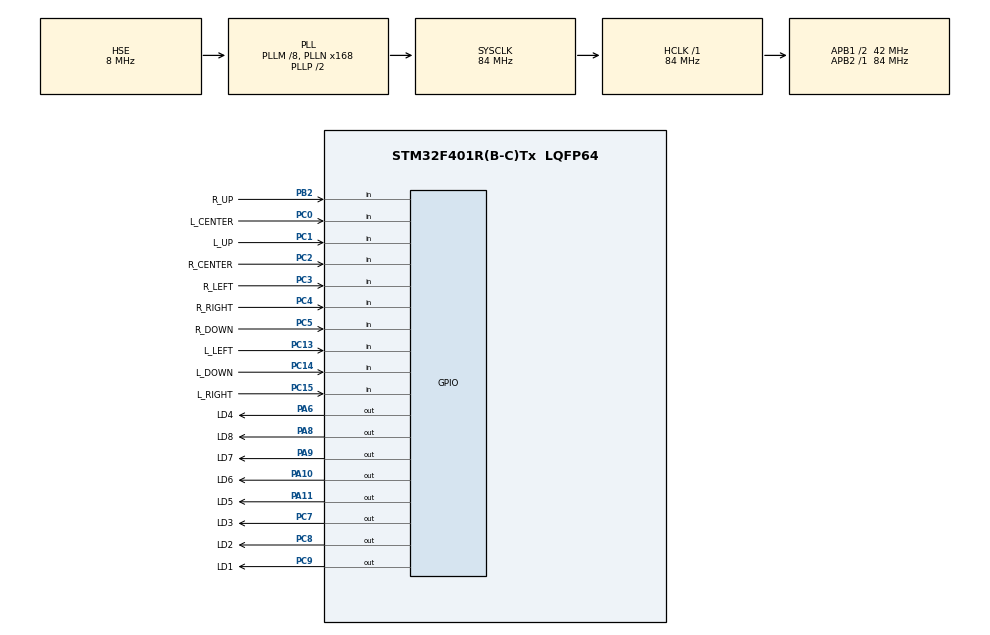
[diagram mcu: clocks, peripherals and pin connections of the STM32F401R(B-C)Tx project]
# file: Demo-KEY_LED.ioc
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Mcu.Family=STM32F4
Mcu.Name=STM32F401R(B-C)Tx
Mcu.Package=LQFP64
NVIC.PriorityGroup=NVIC_PRIORITYGROUP_4
PA10.GPIO_Label=LD6
PA10.Signal=GPIO_Output
PA11.GPIO_Label=LD5
PA11.Signal=GPIO_Output
PA13.Mode=Serial_Wire
PA13.Signal=SYS_JTMS-SWDIO
PA14.Mode=Serial_Wire
PA14.Signal=SYS_JTCK-SWCLK
PA6.GPIO_Label=LD4
PA6.Signal=GPIO_Output
PA8.GPIO_Label=LD8
PA8.PinState=GPIO_PIN_SET
PA8.Signal=GPIO_Output
PA9.GPIO_Label=LD7
PA9.PinState=GPIO_PIN_SET
PA9.Signal=GPIO_Output
PB2.GPIO_Label=R_UP
PB2.GPIO_PuPd=GPIO_PULLUP
PB2.Signal=GPIO_Input
PC0.GPIO_Label=L_CENTER
PC0.GPIO_PuPd=GPIO_PULLUP
PC0.Signal=GPIO_Input
PC1.GPIO_Label=L_UP
PC1.GPIO_PuPd=GPIO_PULLUP
PC1.Signal=GPIO_Input
PC13-ANTI_TAMP.GPIO_Label=L_LEFT
PC13-ANTI_TAMP.GPIO_PuPd=GPIO_PULLUP
PC13-ANTI_TAMP.Signal=GPIO_Input
PC14-OSC32_IN.GPIO_Label=L_DOWN
PC14-OSC32_IN.GPIO_PuPd=GPIO_PULLUP
PC14-OSC32_IN.Signal=GPIO_Input
PC15-OSC32_OUT.GPIO_Label=L_RIGHT
PC15-OSC32_OUT.GPIO_PuPd=GPIO_PULLUP
PC15-OSC32_OUT.Signal=GPIO_Input
PC2.GPIO_Label=R_CENTER
PC2.GPIO_PuPd=GPIO_PULLUP
PC2.Signal=GPIO_Input
PC3.GPIO_Label=R_LEFT
PC3.GPIO_PuPd=GPIO_PULLUP
PC3.Signal=GPIO_Input
PC4.GPIO_Label=R_RIGHT
PC4.GPIO_PuPd=GPIO_PULLUP
PC4.Signal=GPIO_Input
PC5.GPIO_Label=R_DOWN
PC5.GPIO_PuPd=GPIO_PULLUP
PC5.Signal=GPIO_Input
PC7.GPIO_Label=LD3
PC7.Signal=GPIO_Output
PC8.GPIO_Label=LD2
PC8.Signal=GPIO_Output
PC9.GPIO_Label=LD1
PC9.Signal=GPIO_Output
PH0\ -\ OSC_IN.Mode=HSE-External-Clock-Source
PH0\ -\ OSC_IN.Signal=RCC_OSC_IN
PH1\ -\ OSC_OUT.Mode=HSE-External-Clock-Source
PH1\ -\ OSC_OUT.Signal=RCC_OSC_OUT
ProjectManager.HeapSize=0x200
ProjectManager.StackSize=0x400
ProjectManager.TargetToolchain=MDK-ARM V5.32
RCC.48MHZClocksFreq_Value=42000000
RCC.AHBFreq_Value=84000000
RCC.APB1CLKDivider=RCC_HCLK_DIV2
RCC.APB1Freq_Value=42000000
RCC.APB1TimFreq_Value=84000000
RCC.APB2Freq_Value=84000000
RCC.APB2TimFreq_Value=84000000
RCC.CortexFreq_Value=84000000
RCC.HCLKFreq_Value=84000000
RCC.HSE_VALUE=8000000
RCC.HSI_VALUE=16000000
RCC.LSE_VALUE=32768
RCC.PLLM=8
RCC.PLLN=168
RCC.PLLSourceVirtual=RCC_PLLSOURCE_HSE
RCC.SYSCLKFreq_VALUE=84000000
RCC.SYSCLKSource=RCC_SYSCLKSOURCE_PLLCLK
RCC.VCOOutputFreq_Value=168000000
board=custom

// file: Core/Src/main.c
/* USER CODE BEGIN Header */
/**
  ******************************************************************************
  * @file           : main.c
  * @brief          : Main program body
  ******************************************************************************
  * @attention
  *
  * Copyright (c) 2026 STMicroelectronics.
  * All rights reserved.
  *
  * This software is licensed under terms that can be found in the LICENSE file
  * in the root directory of this software component.
  * If no LICENSE file comes with this software, it is provided AS-IS.
  *
  ******************************************************************************
  */
/* USER CODE END Header */
#include "main.h"
#include "gpio.h"

/* USER CODE BEGIN Includes */
#include "stdio.h"
#include "delay.h"
#include "key.h"
/* USER CODE END Includes */

void SystemClock_Config(void);

int main(void)
{

  /* MCU Configuration--------------------------------------------------------*/

  /* Reset of all peripherals, Initializes the Flash interface and the Systick. */
  HAL_Init();

  /* Configure the system clock */
  SystemClock_Config();

  /* Initialize all configured peripherals */
  MX_GPIO_Init();
  /* USER CODE BEGIN 2 */
	delay_init(84);
  /* USER CODE END 2 */

  /* Infinite loop */
  while (1)
  {

		/* USER CODE BEGIN 3 */
		u8 KEY_ST = KEY_Scan(0);
		switch(KEY_ST) {

			case 1: HAL_GPIO_TogglePin(LD1_GPIO_Port, LD1_Pin); break;
			case 2: HAL_GPIO_TogglePin(LD2_GPIO_Port, LD2_Pin); break;
			case 3: HAL_GPIO_TogglePin(LD3_GPIO_Port, LD3_Pin); break;
			case 4: HAL_GPIO_TogglePin(LD4_GPIO_Port, LD4_Pin); break;
			case 5: HAL_GPIO_TogglePin(LD5_GPIO_Port, LD5_Pin); break;
			case 6: HAL_GPIO_TogglePin(LD6_GPIO_Port, LD6_Pin); break;
			case 7: HAL_GPIO_TogglePin(LD7_GPIO_Port, LD7_Pin); break;
			case 8: HAL_GPIO_TogglePin(LD8_GPIO_Port, LD8_Pin); break;
			case 9: break;
			case 10: break;

			default: break;

		}
  }
		/* USER CODE END 3 */
}

void SystemClock_Config(void)
{
  RCC_OscInitTypeDef RCC_OscInitStruct = {0};
  RCC_ClkInitTypeDef RCC_ClkInitStruct = {0};

  /** Configure the main internal regulator output voltage
  */
  __HAL_RCC_PWR_CLK_ENABLE();
  __HAL_PWR_VOLTAGESCALING_CONFIG(PWR_REGULATOR_VOLTAGE_SCALE2);

  /** Initializes the RCC Oscillators according to the specified parameters
  * in the RCC_OscInitTypeDef structure.
  */
  RCC_OscInitStruct.OscillatorType = RCC_OSCILLATORTYPE_HSE;
  RCC_OscInitStruct.HSEState = RCC_HSE_BYPASS;
  RCC_OscInitStruct.PLL.PLLState = RCC_PLL_ON;
  RCC_OscInitStruct.PLL.PLLSource = RCC_PLLSOURCE_HSE;
  RCC_OscInitStruct.PLL.PLLM = 8;
  RCC_OscInitStruct.PLL.PLLN = 168;
  RCC_OscInitStruct.PLL.PLLP = RCC_PLLP_DIV2;
  RCC_OscInitStruct.PLL.PLLQ = 4;
  if (HAL_RCC_OscConfig(&RCC_OscInitStruct) != HAL_OK)
  {
    Error_Handler();
  }

  /** Initializes the CPU, AHB and APB buses clocks
  */
  RCC_ClkInitStruct.ClockType = RCC_CLOCKTYPE_HCLK|RCC_CLOCKTYPE_SYSCLK
                              |RCC_CLOCKTYPE_PCLK1|RCC_CLOCKTYPE_PCLK2;
  RCC_ClkInitStruct.SYSCLKSource = RCC_SYSCLKSOURCE_PLLCLK;
  RCC_ClkInitStruct.AHBCLKDivider = RCC_SYSCLK_DIV1;
  RCC_ClkInitStruct.APB1CLKDivider = RCC_HCLK_DIV2;
  RCC_ClkInitStruct.APB2CLKDivider = RCC_HCLK_DIV1;

  if (HAL_RCC_ClockConfig(&RCC_ClkInitStruct, FLASH_LATENCY_2) != HAL_OK)
  {
    Error_Handler();
  }
}

void Error_Handler(void)
{
  __disable_irq();
  while (1)
  {
  }
}
